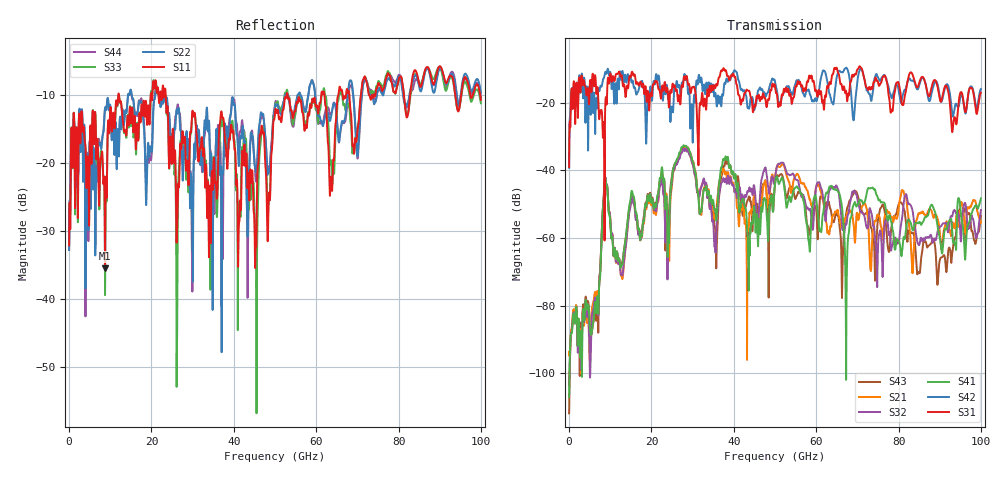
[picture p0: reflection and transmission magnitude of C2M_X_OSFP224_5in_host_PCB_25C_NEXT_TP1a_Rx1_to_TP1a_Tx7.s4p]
# GHz S RI R 45
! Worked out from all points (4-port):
!   4000 points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, 25 MHz to 100 GHz, reference 45 ohm
!   strongest paths, dB at 25 MHz, 25.02 GHz, 50.02 GHz, 75.03 GHz, 100 GHz:
!     S31: -39.0, -15.3, -15.2, -13.9, -17.0
!     S42: -39.3, -21.2, -13.8, -12.5, -15.9
!     S41: -107.1, -42.0, -43.8, -48.5, -48.3
!     S32: -103.7, -43.3, -42.5, -62.7, -51.8
!     S21: -93.7, -44.0, -41.8, -53.3, -55.1
!     S43: -111.9, -41.5, -44.1, -54.6, -53.5
!   lowest |S11| = -35.5 dB at 8.75 GHz (marker M1), VSWR 1.03, Z = 43.6 - j0.541 ohm
!   |S11| at or under -10 dB: start of sweep to 11.95 GHz; 23.48 GHz to 52.82 GHz (29.34 GHz wide, 76.9 % of centre); 53.06 GHz to 61.24 GHz (8.181 GHz wide, 14.3 % of centre)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
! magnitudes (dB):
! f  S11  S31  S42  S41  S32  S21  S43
! 25 MHz  -32.1  -39.0  -39.3  -107.1  -103.7  -93.7  -111.9
! 6.75 GHz  -17.8  -16.5  -21.0  -79.4  -79.8  -76.9  -81.7
! 8.75 GHz  -35.5  -23.7  -11.1  -42.5  -42.2  -42.4  -42.2
! 12.8 GHz  -12.2  -12.0  -11.8  -68.0  -70.8  -71.5  -67.4
! 28.07 GHz  -16.2  -12.4  -11.5  -32.9  -34.3  -33.6  -33.6
! 67.33 GHz  -9.6  -16.9  -9.6  -85.6  -56.1  -53.6  -52.5
! 100 GHz  -10.7  -17.0  -15.9  -48.3  -51.8  -55.1  -53.5
